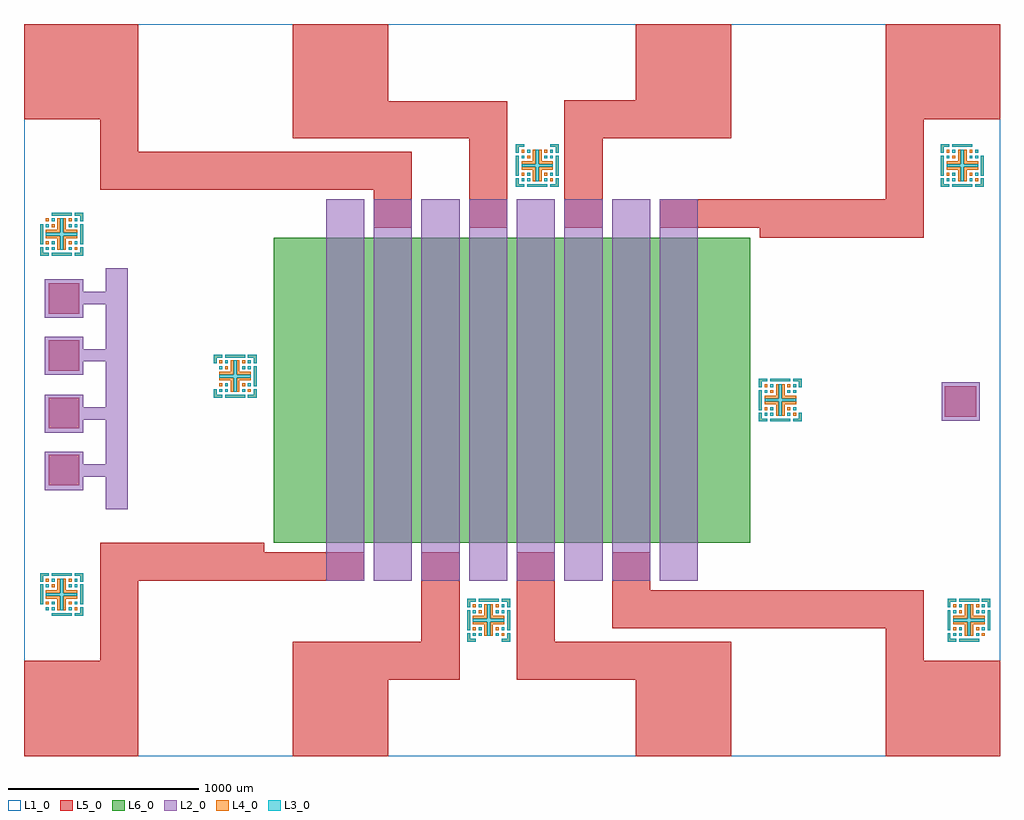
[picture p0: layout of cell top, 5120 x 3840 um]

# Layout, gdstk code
import gdstk
lib = gdstk.Library(unit=1e-6, precision=5e-06)
def R(c, l, rs):  # rectangles x0, y0, x1, y1
    for r in rs: c.add(gdstk.rectangle(r[:2], r[2:], *l))
def A(c, l, x, y, w, h, nx, ny, dx, dy):  # array of equal rectangles
    R(c, l, [(x+i*dx, y+j*dy, x+i*dx+w, y+j*dy+h) for i in range(nx) for j in range(ny)])
def P(c, l, *ps):  # polygons
    for p in ps: c.add(gdstk.Polygon(p, *l))
L1_0 = (1, 0)
L2_0 = (2, 0)
L3_0 = (3, 0)
L4_0 = (4, 0)
L5_0 = (5, 0)
L6_0 = (6, 0)

top = lib.new_cell('top')
R(top, L1_0, [(0,0,5120,3840)])
A(top, L2_0, 1585, 920, 200, 2000, 8, 1, 250, 0)
R(top, L2_0, [(4815,1760,5015,1960)])
P(top, L2_0, [(430,2200),(430,2370),(310,2370),(310,2300),(110,2300),(110,2500),(310,2500),(310,2435),(430,2435),(430,2560),(545,2560),(545,2200)],
  [(430,2200),(430,2370),(310,2370),(310,2300),(110,2300),(110,2500),(310,2500),(310,2435),(430,2435),(430,2560),(545,2560),(545,2200)],
  [(430,1900),(430,2070),(310,2070),(310,2000),(110,2000),(110,2200),(310,2200),(310,2135),(430,2135),(430,2260),(545,2260),(545,1900)],
  [(430,1595),(430,1765),(310,1765),(310,1695),(110,1695),(110,1895),(310,1895),(310,1830),(430,1830),(430,1955),(545,1955),(545,1595)],
  [(430,1295),(430,1465),(310,1465),(310,1395),(110,1395),(110,1595),(310,1595),(310,1530),(430,1530),(430,1655),(545,1655),(545,1295)])
R(top, L3_0, [(4905,600,5010,615), (2355,630,2370,645), (2385,630,2400,645), (2475,630,2490,645), (4875,630,4890,645), (4905,630,4920,645), (4995,630,5010,645), (2325,660,2340,765), (2385,660,2400,675), (2505,660,2520,675), (2535,660,2550,765), (4845,660,4860,765), (4905,660,4920,675), (5025,660,5040,675), (5055,660,5070,765), (145,735,250,750), (2355,750,2370,765), (2475,750,2490,765), (2505,750,2520,765), (4875,750,4890,765), (4995,750,5010,765), (5025,750,5040,765), (115,765,130,780), (145,765,160,780), (235,765,250,780), (2385,780,2400,795), (2505,780,2520,795), (4905,780,4920,795), (5025,780,5040,795), (85,795,100,900), (145,795,160,810), (265,795,280,810), (295,795,310,900), (2385,810,2490,825), (4905,810,5010,825), (115,885,130,900), (235,885,250,900), (265,885,280,900), (145,915,160,930), (265,915,280,930), (145,945,250,960), (3915,1755,4020,1770), (3885,1785,3900,1800), (3915,1785,3930,1800), (4005,1785,4020,1800), (3855,1815,3870,1920), (3915,1815,3930,1830), (4035,1815,4050,1830), (1055,1880,1160,1895), (3885,1905,3900,1920), (4005,1905,4020,1920), (4035,1905,4050,1920), (1025,1910,1040,1925), (1055,1910,1070,1925), (1145,1910,1160,1925), (3915,1935,3930,1950), (4035,1935,4050,1950), (1055,1940,1070,1955), (1175,1940,1190,1955), (1205,1940,1220,2045), (3915,1965,4020,1980), (1025,2030,1040,2045), (1145,2030,1160,2045), (1175,2030,1190,2045), (1055,2060,1070,2075), (1175,2060,1190,2075), (1055,2090,1160,2105), (145,2625,250,2640), (115,2655,130,2670), (145,2655,160,2670), (235,2655,250,2670), (85,2685,100,2790), (145,2685,160,2700), (265,2685,280,2700), (295,2685,310,2790), (115,2775,130,2790), (235,2775,250,2790), (265,2775,280,2790), (145,2805,160,2820), (265,2805,280,2820), (145,2835,250,2850), (2640,2985,2745,3000), (4870,2985,4975,3000), (2610,3015,2625,3030), (2640,3015,2655,3030), (2730,3015,2745,3030), (4840,3015,4855,3030), (4870,3015,4885,3030), (4960,3015,4975,3030), (2580,3045,2595,3150), (2640,3045,2655,3060), (2760,3045,2775,3060), (2790,3045,2805,3150), (4810,3045,4825,3150), (4870,3045,4885,3060), (4990,3045,5005,3060), (5020,3045,5035,3150), (2610,3135,2625,3150), (2730,3135,2745,3150), (2760,3135,2775,3150), (4840,3135,4855,3150), (4960,3135,4975,3150), (4990,3135,5005,3150), (2640,3165,2655,3180), (2760,3165,2775,3180), (4870,3165,4885,3180), (4990,3165,5005,3180), (4870,3195,4975,3210)])
P(top, L3_0, [(265,735),(265,750),(295,750),(295,780),(310,780),(310,735)],
  [(295,915),(295,945),(265,945),(265,960),(310,960),(310,915)],
  [(85,915),(85,960),(130,960),(130,945),(100,945),(100,915)],
  [(190,765),(190,840),(115,840),(115,855),(190,855),(190,930),(205,930),(205,855),(280,855),(280,840),(205,840),(205,765)],
  [(1175,1880),(1175,1895),(1205,1895),(1205,1925),(1220,1925),(1220,1880)],
  [(1205,2060),(1205,2090),(1175,2090),(1175,2105),(1220,2105),(1220,2060)],
  [(995,2060),(995,2105),(1040,2105),(1040,2090),(1010,2090),(1010,2060)],
  [(995,1880),(995,1925),(1010,1925),(1010,1895),(1040,1895),(1040,1880)],
  [(1100,1910),(1100,1985),(1025,1985),(1025,2000),(1100,2000),(1100,2075),(1115,2075),(1115,2000),(1190,2000),(1190,1985),(1115,1985),(1115,1910)],
  [(2760,2985),(2760,3000),(2790,3000),(2790,3030),(2805,3030),(2805,2985)],
  [(2790,3165),(2790,3195),(2760,3195),(2760,3210),(2805,3210),(2805,3165)],
  [(265,2625),(265,2640),(295,2640),(295,2670),(310,2670),(310,2625)],
  [(295,2805),(295,2835),(265,2835),(265,2850),(310,2850),(310,2805)],
  [(85,2625),(85,2670),(100,2670),(100,2640),(130,2640),(130,2625)],
  [(190,2655),(190,2730),(115,2730),(115,2745),(190,2745),(190,2820),(205,2820),(205,2745),(280,2745),(280,2730),(205,2730),(205,2655)],
  [(2580,3165),(2580,3210),(2625,3210),(2625,3195),(2595,3195),(2595,3165)],
  [(2580,2985),(2580,3030),(2595,3030),(2595,3000),(2625,3000),(2625,2985)],
  [(2685,3015),(2685,3090),(2610,3090),(2610,3105),(2685,3105),(2685,3180),(2700,3180),(2700,3105),(2775,3105),(2775,3090),(2700,3090),(2700,3015)],
  [(4990,2985),(4990,3000),(5020,3000),(5020,3030),(5035,3030),(5035,2985)],
  [(4810,3165),(4810,3210),(4855,3210),(4855,3195),(4825,3195),(4825,3165)],
  [(4810,2985),(4810,3030),(4825,3030),(4825,3000),(4855,3000),(4855,2985)],
  [(4915,3015),(4915,3090),(4840,3090),(4840,3105),(4915,3105),(4915,3180),(4930,3180),(4930,3105),(5005,3105),(5005,3090),(4930,3090),(4930,3015)],
  [(4035,1755),(4035,1770),(4065,1770),(4065,1800),(4080,1800),(4080,1755)],
  [(4065,1935),(4065,1965),(4035,1965),(4035,1980),(4080,1980),(4080,1935)],
  [(3855,1935),(3855,1980),(3900,1980),(3900,1965),(3870,1965),(3870,1935)],
  [(3855,1755),(3855,1800),(3870,1800),(3870,1770),(3900,1770),(3900,1755)],
  [(3960,1785),(3960,1860),(3885,1860),(3885,1875),(3960,1875),(3960,1950),(3975,1950),(3975,1875),(4050,1875),(4050,1860),(3975,1860),(3975,1785)],
  [(5055,780),(5055,810),(5025,810),(5025,825),(5070,825),(5070,780)],
  [(4845,780),(4845,825),(4890,825),(4890,810),(4860,810),(4860,780)],
  [(4845,600),(4845,645),(4860,645),(4860,615),(4890,615),(4890,600)],
  [(4950,630),(4950,705),(4875,705),(4875,720),(4950,720),(4950,795),(4965,795),(4965,720),(5040,720),(5040,705),(4965,705),(4965,630)],
  [(2505,600),(2505,615),(2535,615),(2535,645),(2550,645),(2550,600)],
  [(2535,780),(2535,810),(2505,810),(2505,825),(2550,825),(2550,780)],
  [(2325,780),(2325,825),(2370,825),(2370,810),(2340,810),(2340,780)],
  [(2325,600),(2325,645),(2340,645),(2340,615),(2370,615),(2370,600)],
  [(2430,630),(2430,705),(2355,705),(2355,720),(2430,720),(2430,795),(2445,795),(2445,720),(2520,720),(2520,705),(2445,705),(2445,630)])
R(top, L4_0, [(4905,600,5010,615), (2355,630,2370,645), (2505,630,2520,645), (4875,630,4890,645), (5025,630,5040,645), (2325,660,2340,765), (2355,660,2370,675), (2385,660,2400,675), (2475,660,2490,675), (2535,660,2550,765), (4845,660,4860,765), (4875,660,4890,675), (4905,660,4920,675), (4995,660,5010,675), (5055,660,5070,765), (145,735,250,750), (2385,750,2400,765), (2475,750,2490,765), (4905,750,4920,765), (4995,750,5010,765), (115,765,130,780), (265,765,280,780), (2355,780,2370,795), (2475,780,2490,795), (2505,780,2520,795), (4875,780,4890,795), (4995,780,5010,795), (5025,780,5040,795), (85,795,100,900), (115,795,130,810), (145,795,160,810), (235,795,250,810), (295,795,310,900), (2385,810,2490,825), (4905,810,5010,825), (145,885,160,900), (235,885,250,900), (115,915,130,930), (235,915,250,930), (265,915,280,930), (145,945,250,960), (3915,1755,4020,1770), (3885,1785,3900,1800), (4035,1785,4050,1800), (3855,1815,3870,1920), (3885,1815,3900,1830), (3915,1815,3930,1830), (4005,1815,4020,1830), (1055,1880,1160,1895), (3915,1905,3930,1920), (4005,1905,4020,1920), (1025,1910,1040,1925), (1175,1910,1190,1925), (3885,1935,3900,1950), (4005,1935,4020,1950), (4035,1935,4050,1950), (1025,1940,1040,1955), (1055,1940,1070,1955), (1145,1940,1160,1955), (1205,1940,1220,2045), (3915,1965,4020,1980), (1055,2030,1070,2045), (1145,2030,1160,2045), (1025,2060,1040,2075), (1145,2060,1160,2075), (1175,2060,1190,2075), (1055,2090,1160,2105), (145,2625,250,2640), (115,2655,130,2670), (265,2655,280,2670), (85,2685,100,2790), (115,2685,130,2700), (145,2685,160,2700), (235,2685,250,2700), (295,2685,310,2790), (145,2775,160,2790), (235,2775,250,2790), (115,2805,130,2820), (235,2805,250,2820), (265,2805,280,2820), (145,2835,250,2850), (2640,2985,2745,3000), (4870,2985,4975,3000), (2610,3015,2625,3030), (2760,3015,2775,3030), (4840,3015,4855,3030), (4990,3015,5005,3030), (2580,3045,2595,3150), (2610,3045,2625,3060), (2640,3045,2655,3060), (2730,3045,2745,3060), (2790,3045,2805,3150), (4810,3045,4825,3150), (4840,3045,4855,3060), (4870,3045,4885,3060), (4960,3045,4975,3060), (5020,3045,5035,3150), (2640,3135,2655,3150), (2730,3135,2745,3150), (4870,3135,4885,3150), (4960,3135,4975,3150), (2610,3165,2625,3180), (2730,3165,2745,3180), (2760,3165,2775,3180), (4840,3165,4855,3180), (4960,3165,4975,3180), (4990,3165,5005,3180), (4870,3195,4975,3210)])
P(top, L4_0, [(265,735),(265,750),(295,750),(295,780),(310,780),(310,735)],
  [(295,915),(295,945),(265,945),(265,960),(310,960),(310,915)],
  [(85,915),(85,960),(130,960),(130,945),(100,945),(100,915)],
  [(175,765),(175,825),(115,825),(115,840),(190,840),(190,765)],
  [(205,765),(205,840),(280,840),(280,825),(220,825),(220,765)],
  [(115,855),(115,870),(175,870),(175,930),(190,930),(190,855)],
  [(205,855),(205,930),(220,930),(220,870),(280,870),(280,855)],
  [(1175,1880),(1175,1895),(1205,1895),(1205,1925),(1220,1925),(1220,1880)],
  [(1205,2060),(1205,2090),(1175,2090),(1175,2105),(1220,2105),(1220,2060)],
  [(995,2060),(995,2105),(1040,2105),(1040,2090),(1010,2090),(1010,2060)],
  [(995,1880),(995,1925),(1010,1925),(1010,1895),(1040,1895),(1040,1880)],
  [(1085,1910),(1085,1970),(1025,1970),(1025,1985),(1100,1985),(1100,1910)],
  [(1115,1910),(1115,1985),(1190,1985),(1190,1970),(1130,1970),(1130,1910)],
  [(1025,2000),(1025,2015),(1085,2015),(1085,2075),(1100,2075),(1100,2000)],
  [(1115,2000),(1115,2075),(1130,2075),(1130,2015),(1190,2015),(1190,2000)],
  [(2760,2985),(2760,3000),(2790,3000),(2790,3030),(2805,3030),(2805,2985)],
  [(2790,3165),(2790,3195),(2760,3195),(2760,3210),(2805,3210),(2805,3165)],
  [(2580,3165),(2580,3210),(2625,3210),(2625,3195),(2595,3195),(2595,3165)],
  [(2580,2985),(2580,3030),(2595,3030),(2595,3000),(2625,3000),(2625,2985)],
  [(2670,3015),(2670,3075),(2610,3075),(2610,3090),(2685,3090),(2685,3015)],
  [(2700,3015),(2700,3090),(2775,3090),(2775,3075),(2715,3075),(2715,3015)],
  [(2610,3105),(2610,3120),(2670,3120),(2670,3180),(2685,3180),(2685,3105)],
  [(2700,3105),(2700,3180),(2715,3180),(2715,3120),(2775,3120),(2775,3105)],
  [(4990,2985),(4990,3000),(5020,3000),(5020,3030),(5035,3030),(5035,2985)],
  [(4810,3165),(4810,3210),(4855,3210),(4855,3195),(4825,3195),(4825,3165)],
  [(4810,2985),(4810,3030),(4825,3030),(4825,3000),(4855,3000),(4855,2985)],
  [(4900,3015),(4900,3075),(4840,3075),(4840,3090),(4915,3090),(4915,3015)],
  [(4930,3015),(4930,3090),(5005,3090),(5005,3075),(4945,3075),(4945,3015)],
  [(4840,3105),(4840,3120),(4900,3120),(4900,3180),(4915,3180),(4915,3105)],
  [(4930,3105),(4930,3180),(4945,3180),(4945,3120),(5005,3120),(5005,3105)],
  [(4035,1755),(4035,1770),(4065,1770),(4065,1800),(4080,1800),(4080,1755)],
  [(4065,1935),(4065,1965),(4035,1965),(4035,1980),(4080,1980),(4080,1935)],
  [(3855,1935),(3855,1980),(3900,1980),(3900,1965),(3870,1965),(3870,1935)],
  [(3855,1755),(3855,1800),(3870,1800),(3870,1770),(3900,1770),(3900,1755)],
  [(265,2625),(265,2640),(295,2640),(295,2670),(310,2670),(310,2625)],
  [(295,2805),(295,2835),(265,2835),(265,2850),(310,2850),(310,2805)],
  [(85,2625),(85,2670),(100,2670),(100,2640),(130,2640),(130,2625)],
  [(175,2655),(175,2715),(115,2715),(115,2730),(190,2730),(190,2655)],
  [(205,2655),(205,2730),(280,2730),(280,2715),(220,2715),(220,2655)],
  [(115,2745),(115,2760),(175,2760),(175,2820),(190,2820),(190,2745)],
  [(205,2745),(205,2820),(220,2820),(220,2760),(280,2760),(280,2745)],
  [(3945,1785),(3945,1845),(3885,1845),(3885,1860),(3960,1860),(3960,1785)],
  [(3975,1785),(3975,1860),(4050,1860),(4050,1845),(3990,1845),(3990,1785)],
  [(3885,1875),(3885,1890),(3945,1890),(3945,1950),(3960,1950),(3960,1875)],
  [(3975,1875),(3975,1950),(3990,1950),(3990,1890),(4050,1890),(4050,1875)],
  [(5055,780),(5055,810),(5025,810),(5025,825),(5070,825),(5070,780)],
  [(4845,780),(4845,825),(4890,825),(4890,810),(4860,810),(4860,780)],
  [(4845,600),(4845,645),(4860,645),(4860,615),(4890,615),(4890,600)],
  [(4935,630),(4935,690),(4875,690),(4875,705),(4950,705),(4950,630)],
  [(4965,630),(4965,705),(5040,705),(5040,690),(4980,690),(4980,630)],
  [(4875,720),(4875,735),(4935,735),(4935,795),(4950,795),(4950,720)],
  [(4965,720),(4965,795),(4980,795),(4980,735),(5040,735),(5040,720)],
  [(2505,600),(2505,615),(2535,615),(2535,645),(2550,645),(2550,600)],
  [(2535,780),(2535,810),(2505,810),(2505,825),(2550,825),(2550,780)],
  [(2325,780),(2325,825),(2370,825),(2370,810),(2340,810),(2340,780)],
  [(2325,600),(2325,645),(2340,645),(2340,615),(2370,615),(2370,600)],
  [(2415,630),(2415,690),(2355,690),(2355,705),(2430,705),(2430,630)],
  [(2445,630),(2445,705),(2520,705),(2520,690),(2460,690),(2460,630)],
  [(2355,720),(2355,735),(2415,735),(2415,795),(2430,795),(2430,720)],
  [(2445,720),(2445,795),(2460,795),(2460,735),(2520,735),(2520,720)])
A(top, L5_0, 130, 1420, 160, 160, 1, 4, 0, 300)
R(top, L5_0, [(4830,1780,4995,1940)])
P(top, L5_0, [(1410,0),(1410,600),(2085,600),(2085,1070),(2285,1070),(2285,400),(1910,400),(1910,0)],
  [(3210,0),(3210,400),(2585,400),(2585,1070),(2785,1070),(2785,600),(3710,600),(3710,0)],
  [(4520,0),(4520,670),(3085,670),(3085,1070),(3285,1070),(3285,870),(4720,870),(4720,500),(5120,500),(5120,0)],
  [(0,0),(0,500),(400,500),(400,1120),(1260,1120),(1260,1070),(1785,1070),(1785,920),(600,920),(600,0)],
  [(2335,2770),(2335,3240),(1410,3240),(1410,3840),(1910,3840),(1910,3435),(2535,3435),(2535,2770)],
  [(1835,2770),(1835,2970),(400,2970),(400,3340),(0,3340),(0,3840),(600,3840),(600,3170),(2035,3170),(2035,2770)],
  [(2835,2770),(2835,3440),(3210,3440),(3210,3840),(3710,3840),(3710,3240),(3035,3240),(3035,2770)],
  [(3860,2720),(3860,2770),(3335,2770),(3335,2920),(4520,2920),(4520,3840),(5120,3840),(5120,3340),(4720,3340),(4720,2720)])
R(top, L6_0, [(1310,1120,3810,2720)])

lib.write_gds('top.gds')
